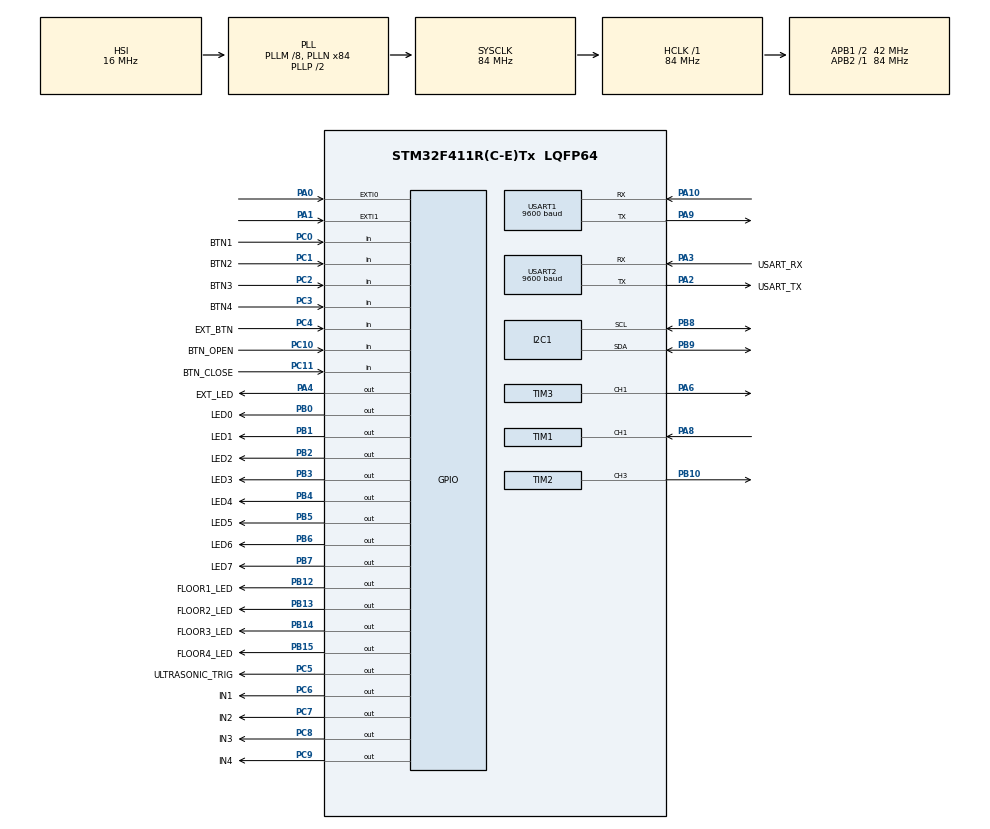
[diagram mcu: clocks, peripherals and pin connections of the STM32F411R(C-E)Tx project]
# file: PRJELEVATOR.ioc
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Mcu.Family=STM32F4
Mcu.Name=STM32F411R(C-E)Tx
Mcu.Package=LQFP64
NVIC.EXTI0_IRQn=true\:0\:0\:false\:false\:true\:true\:true
NVIC.EXTI1_IRQn=true\:0\:0\:false\:false\:true\:true\:true
NVIC.PriorityGroup=NVIC_PRIORITYGROUP_0
NVIC.TIM1_BRK_TIM9_IRQn=true\:0\:0\:false\:false\:true\:true\:true
NVIC.TIM1_CC_IRQn=true\:0\:0\:false\:false\:true\:true\:true
NVIC.TIM1_TRG_COM_TIM11_IRQn=true\:0\:0\:false\:true\:true\:1\:true\:true
NVIC.TIM1_UP_TIM10_IRQn=true\:0\:0\:false\:false\:true\:true\:true
NVIC.TIM2_IRQn=true\:0\:0\:false\:false\:true\:true\:true
NVIC.TIM3_IRQn=true\:0\:0\:false\:false\:true\:true\:true
NVIC.USART1_IRQn=true\:0\:0\:false\:false\:true\:true\:true
NVIC.USART2_IRQn=true\:0\:0\:false\:false\:true\:true\:true
PA0-WKUP.Signal=GPXTI0
PA1.Signal=GPXTI1
PA10.Mode=Asynchronous
PA10.Signal=USART1_RX
PA13.GPIO_Label=TMS
PA13.Mode=Serial_Wire
PA13.Signal=SYS_JTMS-SWDIO
PA14.GPIO_Label=TCK
PA14.Mode=Serial_Wire
PA14.Signal=SYS_JTCK-SWCLK
PA2.GPIO_Label=USART_TX
PA2.Mode=Asynchronous
PA2.Signal=USART2_TX
PA3.GPIO_Label=USART_RX
PA3.Mode=Asynchronous
PA3.Signal=USART2_RX
PA4.GPIO_Label=EXT_LED
PA4.Signal=GPIO_Output
PA6.Signal=S_TIM3_CH1
PA8.Signal=S_TIM1_CH1
PA9.Mode=Asynchronous
PA9.Signal=USART1_TX
PB0.GPIO_Label=LED0
PB0.Signal=GPIO_Output
PB1.GPIO_Label=LED1
PB1.Signal=GPIO_Output
PB10.Signal=S_TIM2_CH3
PB12.GPIO_Label=FLOOR1_LED
PB12.Signal=GPIO_Output
PB13.GPIO_Label=FLOOR2_LED
PB13.Signal=GPIO_Output
PB14.GPIO_Label=FLOOR3_LED
PB14.Signal=GPIO_Output
PB15.GPIO_Label=FLOOR4_LED
PB15.Signal=GPIO_Output
PB2.GPIO_Label=LED2
PB2.Signal=GPIO_Output
PB3.GPIO_Label=LED3
PB3.Signal=GPIO_Output
PB4.GPIO_Label=LED4
PB4.Signal=GPIO_Output
PB5.GPIO_Label=LED5
PB5.Signal=GPIO_Output
PB6.GPIO_Label=LED6
PB6.Signal=GPIO_Output
PB7.GPIO_Label=LED7
PB7.Signal=GPIO_Output
PB8.Mode=I2C
PB8.Signal=I2C1_SCL
PB9.Mode=I2C
PB9.Signal=I2C1_SDA
PC0.GPIO_Label=BTN1
PC0.Signal=GPIO_Input
PC1.GPIO_Label=BTN2
PC1.Signal=GPIO_Input
PC10.GPIO_Label=BTN_OPEN
PC10.Signal=GPIO_Input
PC11.GPIO_Label=BTN_CLOSE
PC11.Signal=GPIO_Input
PC14-OSC32_IN.Mode=LSE-External-Oscillator
PC14-OSC32_IN.Signal=RCC_OSC32_IN
PC15-OSC32_OUT.Mode=LSE-External-Oscillator
PC15-OSC32_OUT.Signal=RCC_OSC32_OUT
PC2.GPIO_Label=BTN3
PC2.Signal=GPIO_Input
PC3.GPIO_Label=BTN4
PC3.Signal=GPIO_Input
PC4.GPIO_Label=EXT_BTN
PC4.Signal=GPIO_Input
PC5.GPIO_Label=ULTRASONIC_TRIG
PC5.Signal=GPIO_Output
PC6.GPIO_Label=IN1
PC6.Signal=GPIO_Output
PC7.GPIO_Label=IN2
PC7.Signal=GPIO_Output
PC8.GPIO_Label=IN3
PC8.Signal=GPIO_Output
PC9.GPIO_Label=IN4
PC9.Signal=GPIO_Output
PH0\ -\ OSC_IN.Mode=HSE-External-Clock-Source
PH0\ -\ OSC_IN.Signal=RCC_OSC_IN
PH1\ -\ OSC_OUT.Mode=HSE-External-Clock-Source
PH1\ -\ OSC_OUT.Signal=RCC_OSC_OUT
ProjectManager.HeapSize=0x200
ProjectManager.StackSize=0x400
ProjectManager.TargetToolchain=STM32CubeIDE
RCC.48MHZClocksFreq_Value=42000000
RCC.AHBFreq_Value=84000000
RCC.APB1CLKDivider=RCC_HCLK_DIV2
RCC.APB1Freq_Value=42000000
RCC.APB1TimFreq_Value=84000000
RCC.APB2Freq_Value=84000000
RCC.APB2TimFreq_Value=84000000
RCC.CortexFreq_Value=84000000
RCC.FLatency-AdvancedSettings=FLASH_LATENCY_2
RCC.HCLKFreq_Value=84000000
RCC.HSE_VALUE=8000000
RCC.HSI_VALUE=16000000
RCC.PLLM=8
RCC.PLLN=84
RCC.SYSCLKFreq_VALUE=84000000
RCC.SYSCLKSource=RCC_SYSCLKSOURCE_PLLCLK
RCC.VCOOutputFreq_Value=168000000
RTC.Date=30
RTC.Hours=14
RTC.Minutes=10
RTC.Month=RTC_MONTH_AUGUST
RTC.WeekDay=RTC_WEEKDAY_TUESDAY
RTC.Year=22
SH.S_TIM1_CH1.0=TIM1_CH1,Input_Capture1_from_TI1
SH.S_TIM2_CH3.0=TIM2_CH3,PWM Generation3 CH3
SH.S_TIM3_CH1.0=TIM3_CH1,PWM Generation1 CH1
TIM1.Channel-Input_Capture1_from_TI1=TIM_CHANNEL_1
TIM1.ICPolarity_CH1=TIM_INPUTCHANNELPOLARITY_BOTHEDGE
TIM1.Prescaler=84-1
TIM11.Period=10000-1
TIM11.Prescaler=84-1
TIM2.Channel-PWM\ Generation3\ CH3=TIM_CHANNEL_3
TIM2.Period=1000-1
TIM2.Prescaler=1680-1
TIM3.Channel-PWM\ Generation1\ CH1=TIM_CHANNEL_1
TIM3.Period=400-1
TIM3.Prescaler=52.5-1
TIM3.Pulse-PWM\ Generation1\ CH1=200-1
USART1.BaudRate=9600
USART1.VirtualMode=VM_ASYNC
USART2.BaudRate=9600
USART2.VirtualMode=VM_ASYNC
VP_RTC_VS_RTC_Activate.Mode=RTC_Enabled
VP_RTC_VS_RTC_Calendar.Mode=RTC_Calendar
VP_TIM11_VS_ClockSourceINT.Mode=Enable_Timer
VP_TIM1_VS_ClockSourceINT.Mode=Internal
board=NUCLEO-F411RE

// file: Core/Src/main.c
/* USER CODE BEGIN Header */
/**
  ******************************************************************************
  * @file           : main.c
  * @brief          : Main program body
  ******************************************************************************
  * @attention
  *
  * <h2><center>&copy; Copyright (c) 2022 STMicroelectronics.
  * All rights reserved.</center></h2>
  *
  * This software component is licensed by ST under BSD 3-Clause license,
  * the "License"; You may not use this file except in compliance with the
  * License. You may obtain a copy of the License at:
  *                        opensource.org/licenses/BSD-3-Clause
  *
  ******************************************************************************
  */
/* USER CODE END Header */
#include "main.h"

/* USER CODE BEGIN Includes */
#include <stdio.h>
#include <string.h>
#include "BUTTON.h"
/* USER CODE END Includes */

I2C_HandleTypeDef hi2c1;

RTC_HandleTypeDef hrtc;

TIM_HandleTypeDef htim1;
TIM_HandleTypeDef htim2;
TIM_HandleTypeDef htim3;
TIM_HandleTypeDef htim11;

UART_HandleTypeDef huart1;
UART_HandleTypeDef huart2;

/* USER CODE BEGIN PV */
uint8_t led_state = 0;
/* USER CODE END PV */

void SystemClock_Config(void);
static void MX_GPIO_Init(void);
static void MX_TIM1_Init(void);
static void MX_TIM11_Init(void);
static void MX_TIM2_Init(void);
static void MX_TIM3_Init(void);
static void MX_USART1_UART_Init(void);
static void MX_USART2_UART_Init(void);
static void MX_RTC_Init(void);
static void MX_I2C1_Init(void);
static void MX_NVIC_Init(void);
/* USER CODE BEGIN PFP */
extern void led_all_on();
extern void led_all_off();

extern void pc_command_processing();

extern void get_rtc_time();
extern void i2c_lcd_main(void);
extern void i2c_lcd_init(void);
extern void elevator_activation();

extern volatile uint8_t rx_data;
extern volatile int real_distance;
extern uint8_t prev_button_open_state;
extern uint8_t prev_button_close_state;
extern uint8_t prev_button1_state;
extern uint8_t prev_button2_state;
extern uint8_t prev_button3_state;
extern uint8_t prev_button4_state;
extern uint8_t prev_button_EXT_state;
/* USER CODE END PFP */

/* USER CODE BEGIN 0 */

//----------  printf start ----------
#ifdef __GNUC__
/* With GCC, small printf (option LD Linker->Libraries->Small printf
   set to 'Yes') calls __io_putchar() */
#define PUTCHAR_PROTOTYPE int __io_putchar(int ch)
#else
#define PUTCHAR_PROTOTYPE int fputc(int ch, FILE *f)
#endif /* __GNUC_ */
/**
  * @brief  Retargets the C library printf function to the USART.
  * @param  None
  * @retval None
  */
PUTCHAR_PROTOTYPE   // Add for printf
{
  /* Place your implementation of fputc here */
  /* e.g. write a character to the USART3 and Loop until the end of transmission */
  HAL_UART_Transmit(&huart2, (uint8_t *)&ch, 1, 0xFFFF);

  return ch;
}
//----------  printf end ----------

volatile int t1ms_counter = 0;
volatile int t500ms_counter = 0;
volatile int elevator_led_counter = 0;

// call by SysTick_Handler of stm32f4xx_it.c
// enter here every 1msec (default)
// ARM default function
void HAL_SYSTICK_Callback()
{
	t1ms_counter++;
	t500ms_counter++;
	elevator_led_counter++;
}

// copy from Drivers/STM32F4xx_HAL_Driver/stm32f4xx_hal_tim.c
// every TIM INT callback function : ex) TIM 11 : enter here every 10ms
volatile int TIM11_10ms_counter = 0;

volatile int TIM11_10ms_door_counter = 0;
volatile int TIM11_10ms_buzzer_counter = 0;

void HAL_TIM_PeriodElapsedCallback(TIM_HandleTypeDef *htim)
{
	if(htim->Instance == TIM11)
	{
		TIM11_10ms_counter++;
		TIM11_10ms_door_counter++;
		TIM11_10ms_buzzer_counter++;
	}
}

#define VIP_OFF		0
#define VIP_ON		1

int VIP_on_off = VIP_OFF;

// copy from Drivers/STM32F4xx_hal_gpio.c/
// every EXT INT callback function : ex) Photo Interrupt  -> every Rising Edge
// Photo INT0 -> 4th floor activate
void HAL_GPIO_EXTI_Callback(uint16_t GPIO_Pin)
{
	switch(GPIO_Pin)
	{
		case GPIO_PIN_0:		// Rising Edge of PA0
//printf("EXT INT 0\n");
			VIP_on_off = VIP_ON;
		break;

		case GPIO_PIN_1:		// Rising Edge of PA1
//printf("EXT INT 1\n");
//			HAL_GPIO_WritePin(GPIOB, GPIO_PIN_1, GPIO_PIN_SET);
//			HAL_GPIO_WritePin(GPIOB, GPIO_PIN_0, GPIO_PIN_RESET);
//			rotate = 2;
		break;
	}
}

// count us timer pulse
// 0.000001sec => 1us
// 0.001sec => 1ms => 1000us
// 0.1sec => 100ms => 100000us
void delay_us(unsigned long us)
{
	// TCNT = 0; ex of AVR
	__HAL_TIM_SET_COUNTER(&htim1, 0); // Clear Timer Count
	while(__HAL_TIM_GET_COUNTER(&htim1) < us)	// wait counter value until reach
	;
}
/* USER CODE END 0 */

int main(void)
{

  /* MCU Configuration--------------------------------------------------------*/

  /* Reset of all peripherals, Initializes the Flash interface and the Systick. */
  HAL_Init();

  /* Configure the system clock */
  SystemClock_Config();

  /* Initialize all configured peripherals */
  MX_GPIO_Init();
  MX_RTC_Init();
  MX_I2C1_Init();
  MX_TIM1_Init();
  MX_TIM2_Init();
  MX_TIM3_Init();
  MX_TIM11_Init();
  MX_USART1_UART_Init();
  MX_USART2_UART_Init();

  /* Initialize interrupts */
  MX_NVIC_Init();
  /* USER CODE BEGIN 2 */
  HAL_TIM_Base_Start_IT(&htim11);				// add_junghoon_0826 for TIM11 every 10ms
  HAL_TIM_IC_Start_IT(&htim1, TIM_CHANNEL_1);	// add_junghoon_0826 for us_delay, ultrasonic
  HAL_UART_Receive_IT(&huart2, &rx_data, 1);	// PC UART enable
  HAL_UART_Receive_IT(&huart1, &rx_data, 1);	// BT UART enable -> warning : rx_data change -> PC & BT enable
  HAL_TIM_PWM_Start_IT(&htim2, TIM_CHANNEL_3);	// TIM2_CHENNEL_3 : Servo_Motor
  HAL_TIM_PWM_Start(&htim3, TIM_CHANNEL_1);		// TIM3_CHANNEL_1 : Piezo_Buzzer
//  DHT11_Init();
  i2c_lcd_init();
  __HAL_TIM_SET_COMPARE(&htim2, TIM_CHANNEL_3, 50);
  buzzer_main();
//  buzzer_main();
  /* USER CODE END 2 */

  /* Infinite loop */
  while (1)
  {

    /* USER CODE BEGIN 3 */
	  pc_command_processing();
	  get_rtc_time();
	  elevator_activation();

  }
  /* USER CODE END 3 */
}

void SystemClock_Config(void)
{
  RCC_OscInitTypeDef RCC_OscInitStruct = {0};
  RCC_ClkInitTypeDef RCC_ClkInitStruct = {0};

  /** Configure the main internal regulator output voltage
  */
  __HAL_RCC_PWR_CLK_ENABLE();
  __HAL_PWR_VOLTAGESCALING_CONFIG(PWR_REGULATOR_VOLTAGE_SCALE1);
  /** Initializes the RCC Oscillators according to the specified parameters
  * in the RCC_OscInitTypeDef structure.
  */
  RCC_OscInitStruct.OscillatorType = RCC_OSCILLATORTYPE_HSI|RCC_OSCILLATORTYPE_LSI;
  RCC_OscInitStruct.HSIState = RCC_HSI_ON;
  RCC_OscInitStruct.HSICalibrationValue = RCC_HSICALIBRATION_DEFAULT;
  RCC_OscInitStruct.LSIState = RCC_LSI_ON;
  RCC_OscInitStruct.PLL.PLLState = RCC_PLL_ON;
  RCC_OscInitStruct.PLL.PLLSource = RCC_PLLSOURCE_HSI;
  RCC_OscInitStruct.PLL.PLLM = 8;
  RCC_OscInitStruct.PLL.PLLN = 84;
  RCC_OscInitStruct.PLL.PLLP = RCC_PLLP_DIV2;
  RCC_OscInitStruct.PLL.PLLQ = 4;
  if (HAL_RCC_OscConfig(&RCC_OscInitStruct) != HAL_OK)
  {
    Error_Handler();
  }
  /** Initializes the CPU, AHB and APB buses clocks
  */
  RCC_ClkInitStruct.ClockType = RCC_CLOCKTYPE_HCLK|RCC_CLOCKTYPE_SYSCLK
                              |RCC_CLOCKTYPE_PCLK1|RCC_CLOCKTYPE_PCLK2;
  RCC_ClkInitStruct.SYSCLKSource = RCC_SYSCLKSOURCE_PLLCLK;
  RCC_ClkInitStruct.AHBCLKDivider = RCC_SYSCLK_DIV1;
  RCC_ClkInitStruct.APB1CLKDivider = RCC_HCLK_DIV2;
  RCC_ClkInitStruct.APB2CLKDivider = RCC_HCLK_DIV1;

  if (HAL_RCC_ClockConfig(&RCC_ClkInitStruct, FLASH_LATENCY_2) != HAL_OK)
  {
    Error_Handler();
  }
}

/**
  * @brief NVIC Configuration.
  * @retval None
  */
static void MX_NVIC_Init(void)
{
  /* TIM1_TRG_COM_TIM11_IRQn interrupt configuration */
  HAL_NVIC_SetPriority(TIM1_TRG_COM_TIM11_IRQn, 0, 0);
  HAL_NVIC_EnableIRQ(TIM1_TRG_COM_TIM11_IRQn);
}

static void MX_I2C1_Init(void)
{

  hi2c1.Instance = I2C1;
  hi2c1.Init.ClockSpeed = 100000;
  hi2c1.Init.DutyCycle = I2C_DUTYCYCLE_2;
  hi2c1.Init.OwnAddress1 = 0;
  hi2c1.Init.AddressingMode = I2C_ADDRESSINGMODE_7BIT;
  hi2c1.Init.DualAddressMode = I2C_DUALADDRESS_DISABLE;
  hi2c1.Init.OwnAddress2 = 0;
  hi2c1.Init.GeneralCallMode = I2C_GENERALCALL_DISABLE;
  hi2c1.Init.NoStretchMode = I2C_NOSTRETCH_DISABLE;
  if (HAL_I2C_Init(&hi2c1) != HAL_OK)
  {
    Error_Handler();
  }

}

static void MX_RTC_Init(void)
{

  RTC_TimeTypeDef sTime = {0};
  RTC_DateTypeDef sDate = {0};

  /** Initialize RTC Only
  */
  hrtc.Instance = RTC;
  hrtc.Init.HourFormat = RTC_HOURFORMAT_24;
  hrtc.Init.AsynchPrediv = 127;
  hrtc.Init.SynchPrediv = 255;
  hrtc.Init.OutPut = RTC_OUTPUT_DISABLE;
  hrtc.Init.OutPutPolarity = RTC_OUTPUT_POLARITY_HIGH;
  hrtc.Init.OutPutType = RTC_OUTPUT_TYPE_OPENDRAIN;
  if (HAL_RTC_Init(&hrtc) != HAL_OK)
  {
    Error_Handler();
  }

  /** Initialize RTC and set the Time and Date
  */
  sTime.Hours = 0x14;
  sTime.Minutes = 0x10;
  sTime.Seconds = 0x0;
  sTime.DayLightSaving = RTC_DAYLIGHTSAVING_NONE;
  sTime.StoreOperation = RTC_STOREOPERATION_RESET;
  if (HAL_RTC_SetTime(&hrtc, &sTime, RTC_FORMAT_BCD) != HAL_OK)
  {
    Error_Handler();
  }
  sDate.WeekDay = RTC_WEEKDAY_TUESDAY;
  sDate.Month = RTC_MONTH_AUGUST;
  sDate.Date = 0x30;
  sDate.Year = 0x22;

  if (HAL_RTC_SetDate(&hrtc, &sDate, RTC_FORMAT_BCD) != HAL_OK)
  {
    Error_Handler();
  }

}

static void MX_TIM1_Init(void)
{

  TIM_ClockConfigTypeDef sClockSourceConfig = {0};
  TIM_MasterConfigTypeDef sMasterConfig = {0};
  TIM_IC_InitTypeDef sConfigIC = {0};

  htim1.Instance = TIM1;
  htim1.Init.Prescaler = 84-1;
  htim1.Init.CounterMode = TIM_COUNTERMODE_UP;
  htim1.Init.Period = 65535;
  htim1.Init.ClockDivision = TIM_CLOCKDIVISION_DIV1;
  htim1.Init.RepetitionCounter = 0;
  htim1.Init.AutoReloadPreload = TIM_AUTORELOAD_PRELOAD_DISABLE;
  if (HAL_TIM_Base_Init(&htim1) != HAL_OK)
  {
    Error_Handler();
  }
  sClockSourceConfig.ClockSource = TIM_CLOCKSOURCE_INTERNAL;
  if (HAL_TIM_ConfigClockSource(&htim1, &sClockSourceConfig) != HAL_OK)
  {
    Error_Handler();
  }
  if (HAL_TIM_IC_Init(&htim1) != HAL_OK)
  {
    Error_Handler();
  }
  sMasterConfig.MasterOutputTrigger = TIM_TRGO_RESET;
  sMasterConfig.MasterSlaveMode = TIM_MASTERSLAVEMODE_DISABLE;
  if (HAL_TIMEx_MasterConfigSynchronization(&htim1, &sMasterConfig) != HAL_OK)
  {
    Error_Handler();
  }
  sConfigIC.ICPolarity = TIM_INPUTCHANNELPOLARITY_BOTHEDGE;
  sConfigIC.ICSelection = TIM_ICSELECTION_DIRECTTI;
  sConfigIC.ICPrescaler = TIM_ICPSC_DIV1;
  sConfigIC.ICFilter = 0;
  if (HAL_TIM_IC_ConfigChannel(&htim1, &sConfigIC, TIM_CHANNEL_1) != HAL_OK)
  {
    Error_Handler();
  }

}

static void MX_TIM2_Init(void)
{

  TIM_MasterConfigTypeDef sMasterConfig = {0};
  TIM_OC_InitTypeDef sConfigOC = {0};

  htim2.Instance = TIM2;
  htim2.Init.Prescaler = 1680-1;
  htim2.Init.CounterMode = TIM_COUNTERMODE_UP;
  htim2.Init.Period = 1000-1;
  htim2.Init.ClockDivision = TIM_CLOCKDIVISION_DIV1;
  htim2.Init.AutoReloadPreload = TIM_AUTORELOAD_PRELOAD_DISABLE;
  if (HAL_TIM_PWM_Init(&htim2) != HAL_OK)
  {
    Error_Handler();
  }
  sMasterConfig.MasterOutputTrigger = TIM_TRGO_RESET;
  sMasterConfig.MasterSlaveMode = TIM_MASTERSLAVEMODE_DISABLE;
  if (HAL_TIMEx_MasterConfigSynchronization(&htim2, &sMasterConfig) != HAL_OK)
  {
    Error_Handler();
  }
  sConfigOC.OCMode = TIM_OCMODE_PWM1;
  sConfigOC.Pulse = 0;
  sConfigOC.OCPolarity = TIM_OCPOLARITY_HIGH;
  sConfigOC.OCFastMode = TIM_OCFAST_DISABLE;
  if (HAL_TIM_PWM_ConfigChannel(&htim2, &sConfigOC, TIM_CHANNEL_3) != HAL_OK)
  {
    Error_Handler();
  }
  HAL_TIM_MspPostInit(&htim2);

}

static void MX_TIM3_Init(void)
{

  TIM_MasterConfigTypeDef sMasterConfig = {0};
  TIM_OC_InitTypeDef sConfigOC = {0};

  htim3.Instance = TIM3;
  htim3.Init.Prescaler = 52.5-1;
  htim3.Init.CounterMode = TIM_COUNTERMODE_UP;
  htim3.Init.Period = 400-1;
  htim3.Init.ClockDivision = TIM_CLOCKDIVISION_DIV1;
  htim3.Init.AutoReloadPreload = TIM_AUTORELOAD_PRELOAD_DISABLE;
  if (HAL_TIM_PWM_Init(&htim3) != HAL_OK)
  {
    Error_Handler();
  }
  sMasterConfig.MasterOutputTrigger = TIM_TRGO_RESET;
  sMasterConfig.MasterSlaveMode = TIM_MASTERSLAVEMODE_DISABLE;
  if (HAL_TIMEx_MasterConfigSynchronization(&htim3, &sMasterConfig) != HAL_OK)
  {
    Error_Handler();
  }
  sConfigOC.OCMode = TIM_OCMODE_PWM1;
  sConfigOC.Pulse = 200-1;
  sConfigOC.OCPolarity = TIM_OCPOLARITY_HIGH;
  sConfigOC.OCFastMode = TIM_OCFAST_DISABLE;
  if (HAL_TIM_PWM_ConfigChannel(&htim3, &sConfigOC, TIM_CHANNEL_1) != HAL_OK)
  {
    Error_Handler();
  }
  HAL_TIM_MspPostInit(&htim3);

}

static void MX_TIM11_Init(void)
{

  htim11.Instance = TIM11;
  htim11.Init.Prescaler = 84-1;
  htim11.Init.CounterMode = TIM_COUNTERMODE_UP;
  htim11.Init.Period = 10000-1;
  htim11.Init.ClockDivision = TIM_CLOCKDIVISION_DIV1;
  htim11.Init.AutoReloadPreload = TIM_AUTORELOAD_PRELOAD_DISABLE;
  if (HAL_TIM_Base_Init(&htim11) != HAL_OK)
  {
    Error_Handler();
  }

}

static void MX_USART1_UART_Init(void)
{

  huart1.Instance = USART1;
  huart1.Init.BaudRate = 9600;
  huart1.Init.WordLength = UART_WORDLENGTH_8B;
  huart1.Init.StopBits = UART_STOPBITS_1;
  huart1.Init.Parity = UART_PARITY_NONE;
  huart1.Init.Mode = UART_MODE_TX_RX;
  huart1.Init.HwFlowCtl = UART_HWCONTROL_NONE;
  huart1.Init.OverSampling = UART_OVERSAMPLING_16;
  if (HAL_UART_Init(&huart1) != HAL_OK)
  {
    Error_Handler();
  }

}

static void MX_USART2_UART_Init(void)
{

  huart2.Instance = USART2;
  huart2.Init.BaudRate = 9600;
  huart2.Init.WordLength = UART_WORDLENGTH_8B;
  huart2.Init.StopBits = UART_STOPBITS_1;
  huart2.Init.Parity = UART_PARITY_NONE;
  huart2.Init.Mode = UART_MODE_TX_RX;
  huart2.Init.HwFlowCtl = UART_HWCONTROL_NONE;
  huart2.Init.OverSampling = UART_OVERSAMPLING_16;
  if (HAL_UART_Init(&huart2) != HAL_OK)
  {
    Error_Handler();
  }

}

static void MX_GPIO_Init(void)
{
  GPIO_InitTypeDef GPIO_InitStruct = {0};

  /* GPIO Ports Clock Enable */
  __HAL_RCC_GPIOC_CLK_ENABLE();
  __HAL_RCC_GPIOH_CLK_ENABLE();
  __HAL_RCC_GPIOA_CLK_ENABLE();
  __HAL_RCC_GPIOB_CLK_ENABLE();

  /*Configure GPIO pin Output Level */
  HAL_GPIO_WritePin(EXT_LED_GPIO_Port, EXT_LED_Pin, GPIO_PIN_RESET);

  /*Configure GPIO pin Output Level */
  HAL_GPIO_WritePin(GPIOC, ULTRASONIC_TRIG_Pin|IN1_Pin|IN2_Pin|IN3_Pin
                          |IN4_Pin, GPIO_PIN_RESET);

  /*Configure GPIO pin Output Level */
  HAL_GPIO_WritePin(GPIOB, LED0_Pin|LED1_Pin|LED2_Pin|FLOOR1_LED_Pin
                          |FLOOR2_LED_Pin|FLOOR3_LED_Pin|FLOOR4_LED_Pin|LED3_Pin
                          |LED4_Pin|LED5_Pin|LED6_Pin|LED7_Pin, GPIO_PIN_RESET);

  /*Configure GPIO pins : BTN1_Pin BTN2_Pin BTN3_Pin BTN4_Pin
                           EXT_BTN_Pin BTN_OPEN_Pin BTN_CLOSE_Pin */
  GPIO_InitStruct.Pin = BTN1_Pin|BTN2_Pin|BTN3_Pin|BTN4_Pin
                          |EXT_BTN_Pin|BTN_OPEN_Pin|BTN_CLOSE_Pin;
  GPIO_InitStruct.Mode = GPIO_MODE_INPUT;
  GPIO_InitStruct.Pull = GPIO_NOPULL;
  HAL_GPIO_Init(GPIOC, &GPIO_InitStruct);

  /*Configure GPIO pins : PA0 PA1 */
  GPIO_InitStruct.Pin = GPIO_PIN_0|GPIO_PIN_1;
  GPIO_InitStruct.Mode = GPIO_MODE_IT_RISING;
  GPIO_InitStruct.Pull = GPIO_NOPULL;
  HAL_GPIO_Init(GPIOA, &GPIO_InitStruct);

  /*Configure GPIO pin : EXT_LED_Pin */
  GPIO_InitStruct.Pin = EXT_LED_Pin;
  GPIO_InitStruct.Mode = GPIO_MODE_OUTPUT_PP;
  GPIO_InitStruct.Pull = GPIO_NOPULL;
  GPIO_InitStruct.Speed = GPIO_SPEED_FREQ_LOW;
  HAL_GPIO_Init(EXT_LED_GPIO_Port, &GPIO_InitStruct);

  /*Configure GPIO pins : ULTRASONIC_TRIG_Pin IN1_Pin IN2_Pin IN3_Pin
                           IN4_Pin */
  GPIO_InitStruct.Pin = ULTRASONIC_TRIG_Pin|IN1_Pin|IN2_Pin|IN3_Pin
                          |IN4_Pin;
  GPIO_InitStruct.Mode = GPIO_MODE_OUTPUT_PP;
  GPIO_InitStruct.Pull = GPIO_NOPULL;
  GPIO_InitStruct.Speed = GPIO_SPEED_FREQ_LOW;
  HAL_GPIO_Init(GPIOC, &GPIO_InitStruct);

  /*Configure GPIO pins : LED0_Pin LED1_Pin LED2_Pin FLOOR1_LED_Pin
                           FLOOR2_LED_Pin FLOOR3_LED_Pin FLOOR4_LED_Pin LED3_Pin
                           LED4_Pin LED5_Pin LED6_Pin LED7_Pin */
  GPIO_InitStruct.Pin = LED0_Pin|LED1_Pin|LED2_Pin|FLOOR1_LED_Pin
                          |FLOOR2_LED_Pin|FLOOR3_LED_Pin|FLOOR4_LED_Pin|LED3_Pin
                          |LED4_Pin|LED5_Pin|LED6_Pin|LED7_Pin;
  GPIO_InitStruct.Mode = GPIO_MODE_OUTPUT_PP;
  GPIO_InitStruct.Pull = GPIO_NOPULL;
  GPIO_InitStruct.Speed = GPIO_SPEED_FREQ_LOW;
  HAL_GPIO_Init(GPIOB, &GPIO_InitStruct);

  /* EXTI interrupt init*/
  HAL_NVIC_SetPriority(EXTI0_IRQn, 0, 0);
  HAL_NVIC_EnableIRQ(EXTI0_IRQn);

  HAL_NVIC_SetPriority(EXTI1_IRQn, 0, 0);
  HAL_NVIC_EnableIRQ(EXTI1_IRQn);

}

void Error_Handler(void)
{
  __disable_irq();
  while (1)
  {
  }
}

/************************ (C) COPYRIGHT STMicroelectronics *****END OF FILE****/
